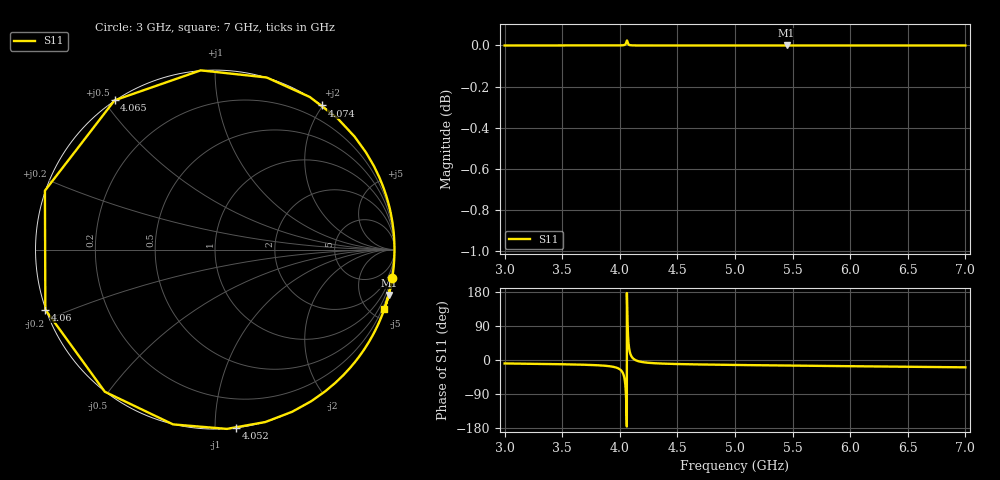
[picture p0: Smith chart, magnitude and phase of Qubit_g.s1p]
! Created with skrf (http://scikit-rf.org).
# GHz S RI R 54.93
!freq ReS11 ImS11
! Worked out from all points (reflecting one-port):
!   8001 points, 3 GHz to 7 GHz, reference 54.93 ohm
!   lowest |S11| = 0.0 dB at 5.448 GHz (marker M1)
!   phase of S11 starts at -9 deg and turns -370 deg over the sweep
!   S11 on the Smith chart (normalised r, x): 3 GHz: 0, -13; 4.052 GHz: -0.00, -1.12; 4.06 GHz: -0.00, -0.17; 4.065 GHz: -0.00, +0.53; 4.074 GHz: -0.00, +1.99; 7 GHz: -0.00, -5.87
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3  0.9874 -0.1581
3.5  0.9809 -0.1944
3.8755  0.9648 -0.2632
3.9545  0.9469 -0.3216
4  0.9098 -0.4152
4.0265  0.8253 -0.5649
4.0335  0.7675 -0.6414
4.039  0.6902 -0.724
4.0425  0.6132 -0.7904
4.046  0.4974 -0.8681
4.052  0.1156 -0.9943
4.06  -0.9452 -0.3344
4.065  -0.5597 0.8316
4.0735  0.5975 0.8028
4.0815  0.8699 0.4938
4.0855  0.9204 0.3916
4.089  0.9469 0.3222
4.096  0.9754 0.2209
4.107  0.9927 0.1208
4.1395  0.9999 -0.014
4.199  0.9952 -0.0979
4.5  0.9828 -0.1848
5  0.9741 -0.2262
5.4475  0.9676 -0.2525
5.5  0.9668 -0.2554
6  0.9595 -0.2817
6.5  0.9518 -0.3067
7  0.9436 -0.331
